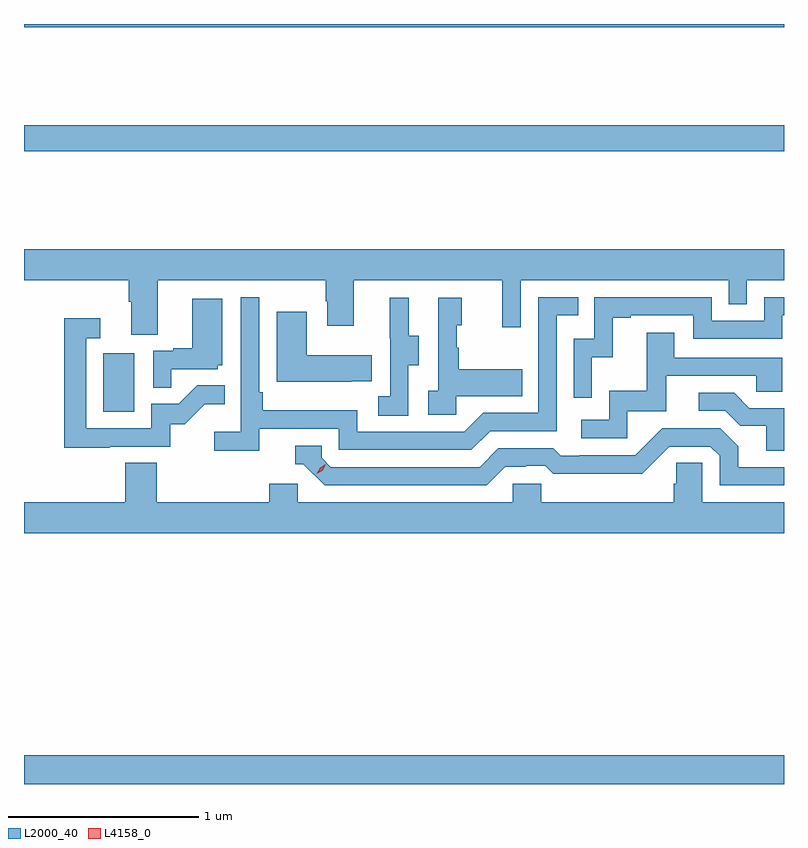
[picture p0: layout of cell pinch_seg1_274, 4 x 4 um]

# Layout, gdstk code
import gdstk
lib = gdstk.Library(unit=1e-6, precision=1e-09)
def R(c, l, rs):  # rectangles x0, y0, x1, y1
    for r in rs: c.add(gdstk.rectangle(r[:2], r[2:], *l))
def P(c, l, *ps):  # polygons
    for p in ps: c.add(gdstk.Polygon(p, *l))
L2000_40 = (2000, 40)
L4158_0 = (4158, 0)

pinch_seg1_274 = lib.new_cell('pinch_seg1_274')
R(pinch_seg1_274, L2000_40, [(947.675,555.741,951.675,555.892), (948.092,557.7,948.256,558.007), (947.675,559.072,951.675,559.208), (947.675,559.724,951.675,559.741)])
P(pinch_seg1_274, L2000_40, [(948.379,558.392),(949.264,558.392),(949.264,558.281),(949.271,558.281),(949.271,558.153),(949.411,558.153),(949.411,558.392),(950.192,558.392),(950.192,558.144),(950.289,558.144),(950.289,558.392),(951.384,558.392),(951.384,558.265),(951.48,558.265),(951.48,558.392),(951.675,558.392),(951.675,558.556),(947.675,558.556),(947.675,558.392),(948.227,558.392),(948.227,558.28),(948.239,558.28),(948.239,558.106),(948.379,558.106)],
  [(948.914,557.61),(949.332,557.61),(949.332,557.499),(950.029,557.499),(950.128,557.598),(950.478,557.598),(950.478,558.207),(950.591,558.207),(950.591,558.303),(950.382,558.303),(950.382,557.694),(950.091,557.694),(949.992,557.595),(949.428,557.595),(949.428,557.707),(948.932,557.707),(948.932,557.803),(948.912,557.803),(948.912,558.304),(948.816,558.304),(948.816,557.596),(948.675,557.596),(948.675,557.494),(948.914,557.494)],
  [(950.664,557.987),(950.774,557.987),(950.774,558.195),(950.869,558.195),(950.869,558.207),(951.198,558.207),(951.198,558.084),(951.666,558.084),(951.666,558.207),(951.675,558.207),(951.675,558.303),(951.57,558.303),(951.57,558.18),(951.294,558.18),(951.294,558.303),(950.676,558.303),(950.676,558.084),(950.568,558.084),(950.568,557.775),(950.664,557.775)],
  [(949.95,557.783),(950.297,557.783),(950.297,557.923),(949.963,557.923),(949.963,558.038),(949.953,558.038),(949.953,558.156),(949.978,558.156),(949.978,558.301),(949.854,558.301),(949.854,557.81),(949.803,557.81),(949.803,557.685),(949.95,557.685)],
  [(949.698,557.944),(949.753,557.944),(949.753,558.099),(949.699,558.099),(949.699,558.301),(949.601,558.301),(949.601,558.087),(949.602,558.087),(949.602,557.783),(949.539,557.783),(949.539,557.68),(949.698,557.68)],
  [(948.449,557.925),(948.696,557.925),(948.696,557.946),(948.718,557.946),(948.718,558.295),(948.56,558.295),(948.56,558.034),(948.461,558.034),(948.461,558.021),(948.354,558.021),(948.354,557.827),(948.449,557.827)],
  [(949.397,557.861),(949.505,557.861),(949.505,557.998),(949.162,557.998),(949.162,558.226),(949.004,558.226),(949.004,557.858),(949.397,557.858)],
  [(948.125,557.517),(948.444,557.517),(948.444,557.634),(948.52,557.634),(948.627,557.741),(948.731,557.741),(948.731,557.84),(948.587,557.84),(948.489,557.742),(948.345,557.742),(948.345,557.613),(948.003,557.613),(948.003,558.087),(948.076,558.087),(948.076,558.193),(947.887,558.193),(947.887,557.512),(948.125,557.512)],
  [(950.85,557.703),(951.055,557.703),(951.055,557.889),(951.529,557.889),(951.529,557.805),(951.666,557.805),(951.666,557.985),(951.097,557.985),(951.097,558.115),(950.953,558.115),(950.953,557.812),(950.754,557.812),(950.754,557.658),(950.607,557.658),(950.607,557.562),(950.85,557.562)],
  [(951.675,557.718),(951.493,557.718),(951.412,557.799),(951.225,557.799),(951.225,557.706),(951.366,557.706),(951.446,557.626),(951.581,557.626),(951.581,557.494),(951.675,557.494)],
  [(950.209,557.412),(950.316,557.412),(950.316,557.415),(950.419,557.415),(950.461,557.373),(950.694,557.373),(950.694,557.375),(950.93,557.375),(951.072,557.517),(951.288,557.517),(951.336,557.469),(951.336,557.313),(951.675,557.313),(951.675,557.409),(951.433,557.409),(951.433,557.519),(951.339,557.613),(951.033,557.613),(950.892,557.472),(950.599,557.472),(950.599,557.469),(950.5,557.469),(950.461,557.508),(950.172,557.508),(950.073,557.409),(949.29,557.409),(949.242,557.457),(949.242,557.52),(949.103,557.52),(949.103,557.424),(949.146,557.424),(949.257,557.313),(950.11,557.313)],
  [(951.675,557.224),(951.246,557.224),(951.246,557.432),(951.109,557.432),(951.109,557.322),(951.095,557.322),(951.095,557.224),(950.397,557.224),(950.397,557.322),(950.247,557.322),(950.247,557.224),(949.116,557.224),(949.116,557.322),(948.965,557.322),(948.965,557.224),(948.374,557.224),(948.374,557.432),(948.209,557.432),(948.209,557.224),(947.675,557.224),(947.675,557.06),(951.675,557.06)])
P(pinch_seg1_274, L4158_0, [(949.217,557.373),(949.217,557.373),(949.233,557.406),(949.264,557.425),(949.264,557.425),(949.264,557.424),(949.248,557.392),(949.217,557.373)])

lib.write_gds('pinch_seg1_274.gds')
